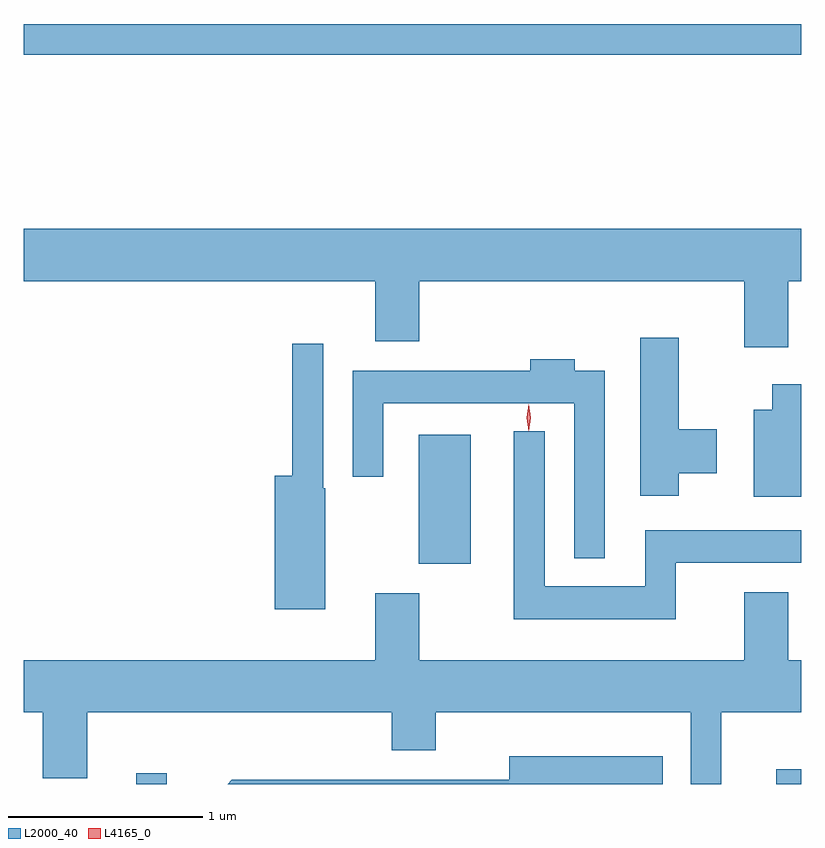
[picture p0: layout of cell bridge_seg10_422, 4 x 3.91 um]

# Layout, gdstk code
import gdstk
lib = gdstk.Library(unit=1e-6, precision=1e-09)
def R(c, l, rs):  # rectangles x0, y0, x1, y1
    for r in rs: c.add(gdstk.rectangle(r[:2], r[2:], *l))
def P(c, l, *ps):  # polygons
    for p in ps: c.add(gdstk.Polygon(p, *l))
L2000_40 = (2000, 40)
L4165_0 = (4165, 0)

bridge_seg10_422 = lib.new_cell('bridge_seg10_422')
R(bridge_seg10_422, L2000_40, [(1419.641,2131.307,1419.799,2131.363), (1422.936,2131.307,1423.064,2131.384), (1421.096,2132.441,1421.364,2133.104), (1419.064,2135.061,1423.064,2135.219)])
P(bridge_seg10_422, L2000_40, [(1422.999,2133.896),(1423.064,2133.896),(1423.064,2134.164),(1419.064,2134.164),(1419.064,2133.896),(1420.871,2133.896),(1420.871,2133.586),(1421.099,2133.586),(1421.099,2133.896),(1422.771,2133.896),(1422.771,2133.556),(1422.999,2133.556)],
  [(1422.434,2132.906),(1422.629,2132.906),(1422.629,2133.134),(1422.434,2133.134),(1422.434,2133.604),(1422.236,2133.604),(1422.236,2132.791),(1422.434,2132.791)],
  [(1420.614,2132.83),(1420.604,2132.83),(1420.604,2133.573),(1420.446,2133.573),(1420.446,2132.894),(1420.356,2132.894),(1420.356,2132.206),(1420.614,2132.206)],
  [(1422.054,2133.434),(1421.899,2133.434),(1421.899,2133.494),(1421.671,2133.494),(1421.671,2133.434),(1420.756,2133.434),(1420.756,2132.888),(1420.914,2132.888),(1420.914,2133.266),(1421.896,2133.266),(1421.896,2132.468),(1422.054,2132.468)],
  [(1423.064,2133.364),(1422.916,2133.364),(1422.916,2133.234),(1422.821,2133.234),(1422.821,2132.786),(1423.064,2132.786)],
  [(1422.419,2132.446),(1423.064,2132.446),(1423.064,2132.614),(1422.261,2132.614),(1422.261,2132.324),(1421.744,2132.324),(1421.744,2133.123),(1421.586,2133.123),(1421.586,2132.156),(1422.419,2132.156)],
  [(1423.064,2131.944),(1422.999,2131.944),(1422.999,2132.294),(1422.771,2132.294),(1422.771,2131.944),(1421.099,2131.944),(1421.099,2132.289),(1420.871,2132.289),(1420.871,2131.944),(1419.064,2131.944),(1419.064,2131.676),(1419.161,2131.676),(1419.161,2131.336),(1419.389,2131.336),(1419.389,2131.676),(1420.956,2131.676),(1420.956,2131.481),(1421.184,2131.481),(1421.184,2131.676),(1422.496,2131.676),(1422.496,2131.307),(1422.654,2131.307),(1422.654,2131.676),(1423.064,2131.676)],
  [(1422.353,2131.449),(1421.561,2131.449),(1421.561,2131.329),(1420.134,2131.329),(1420.112,2131.307),(1422.353,2131.307)])
P(bridge_seg10_422, L4165_0, [(1421.662,2133.124),(1421.662,2133.124),(1421.652,2133.193),(1421.662,2133.262),(1421.662,2133.263),(1421.663,2133.262),(1421.672,2133.193),(1421.663,2133.124)])

lib.write_gds('bridge_seg10_422.gds')
